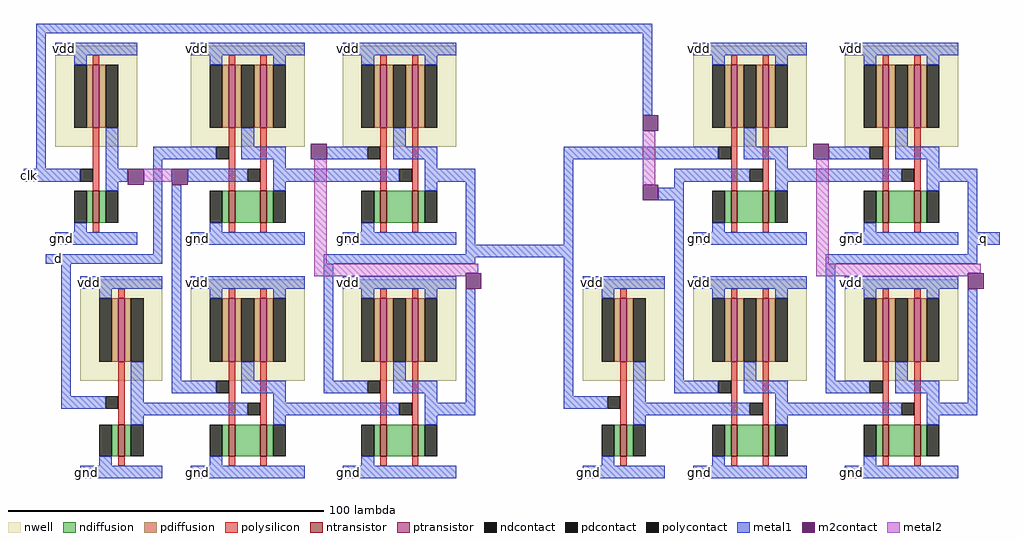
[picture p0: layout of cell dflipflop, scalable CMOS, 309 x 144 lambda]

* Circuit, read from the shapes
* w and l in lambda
.subckt dflipflop clk d gnd q vdd
M1 n1 clk gnd VSUBS nfet w=10 l=2
M2 n2 d gnd VSUBS nfet w=10 l=2
M3 n3 n1 gnd VSUBS nfet w=10 l=2
M4 n4 d gnd VSUBS nfet w=10 l=2
M5 n5 n2 n3 VSUBS nfet w=10 l=2
M6 n6 n1 n4 VSUBS nfet w=10 l=2
M7 n7 n8 gnd VSUBS nfet w=10 l=2
M8 n9 n10 gnd VSUBS nfet w=10 l=2
M9 n10 n5 n7 VSUBS nfet w=10 l=2
M10 n8 n6 n9 VSUBS nfet w=10 l=2
M11 n11 n8 gnd VSUBS nfet w=10 l=2
M12 n12 clk gnd VSUBS nfet w=10 l=2
M13 n13 n8 gnd VSUBS nfet w=10 l=2
M14 n14 n11 n12 VSUBS nfet w=10 l=2
M15 n15 clk n13 VSUBS nfet w=10 l=2
M16 n16 q gnd VSUBS nfet w=10 l=2
M17 n17 n18 gnd VSUBS nfet w=10 l=2
M18 n18 n14 n16 VSUBS nfet w=10 l=2
M19 q n15 n17 VSUBS nfet w=10 l=2
M20 n1 clk vdd n19 pfet w=20 l=2
M21 n2 d vdd n20 pfet w=20 l=2
M22 n5 n1 vdd n21 pfet w=20 l=2
M23 n6 d vdd n22 pfet w=20 l=2
M24 vdd n2 n5 n21 pfet w=20 l=2
M25 vdd n1 n6 n22 pfet w=20 l=2
M26 n10 n8 vdd n23 pfet w=20 l=2
M27 n8 n10 vdd n24 pfet w=20 l=2
M28 vdd n5 n10 n23 pfet w=20 l=2
M29 vdd n6 n8 n24 pfet w=20 l=2
M30 n11 n8 vdd n25 pfet w=20 l=2
M31 n14 clk vdd n26 pfet w=20 l=2
M32 n15 n8 vdd n27 pfet w=20 l=2
M33 vdd n11 n14 n26 pfet w=20 l=2
M34 vdd clk n15 n27 pfet w=20 l=2
M35 n18 q vdd n28 pfet w=20 l=2
M36 q n18 vdd n29 pfet w=20 l=2
M37 vdd n14 n18 n28 pfet w=20 l=2
M38 vdd n15 q n29 pfet w=20 l=2
.ends

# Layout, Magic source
magic
tech scmos
<< nwell >>
rect -184 95 -158 127
rect -141 95 -105 127
rect -93 95 -57 127
rect 18 95 54 127
rect 66 95 102 127
rect -176 21 -150 53
rect -141 21 -105 53
rect -93 21 -57 53
rect -17 21 9 53
rect 18 21 54 53
rect 66 21 102 53
<< ntransistor >>
rect -172 71 -170 81
rect -129 71 -127 81
rect -119 71 -117 81
rect -81 71 -79 81
rect -71 71 -69 81
rect 30 71 32 81
rect 40 71 42 81
rect 78 71 80 81
rect 88 71 90 81
rect -164 -3 -162 7
rect -129 -3 -127 7
rect -119 -3 -117 7
rect -81 -3 -79 7
rect -71 -3 -69 7
rect -5 -3 -3 7
rect 30 -3 32 7
rect 40 -3 42 7
rect 78 -3 80 7
rect 88 -3 90 7
<< ptransistor >>
rect -172 101 -170 121
rect -129 101 -127 121
rect -119 101 -117 121
rect -81 101 -79 121
rect -71 101 -69 121
rect 30 101 32 121
rect 40 101 42 121
rect 78 101 80 121
rect 88 101 90 121
rect -164 27 -162 47
rect -129 27 -127 47
rect -119 27 -117 47
rect -81 27 -79 47
rect -71 27 -69 47
rect -5 27 -3 47
rect 30 27 32 47
rect 40 27 42 47
rect 78 27 80 47
rect 88 27 90 47
<< ndiffusion >>
rect -174 71 -172 81
rect -170 71 -168 81
rect -131 71 -129 81
rect -127 71 -119 81
rect -117 71 -115 81
rect -83 71 -81 81
rect -79 71 -71 81
rect -69 71 -67 81
rect 28 71 30 81
rect 32 71 40 81
rect 42 71 44 81
rect 76 71 78 81
rect 80 71 88 81
rect 90 71 92 81
rect -166 -3 -164 7
rect -162 -3 -160 7
rect -131 -3 -129 7
rect -127 -3 -119 7
rect -117 -3 -115 7
rect -83 -3 -81 7
rect -79 -3 -71 7
rect -69 -3 -67 7
rect -7 -3 -5 7
rect -3 -3 -1 7
rect 28 -3 30 7
rect 32 -3 40 7
rect 42 -3 44 7
rect 76 -3 78 7
rect 80 -3 88 7
rect 90 -3 92 7
<< pdiffusion >>
rect -174 101 -172 121
rect -170 101 -168 121
rect -131 101 -129 121
rect -127 101 -125 121
rect -121 101 -119 121
rect -117 101 -115 121
rect -83 101 -81 121
rect -79 101 -77 121
rect -73 101 -71 121
rect -69 101 -67 121
rect 28 101 30 121
rect 32 101 34 121
rect 38 101 40 121
rect 42 101 44 121
rect 76 101 78 121
rect 80 101 82 121
rect 86 101 88 121
rect 90 101 92 121
rect -166 27 -164 47
rect -162 27 -160 47
rect -131 27 -129 47
rect -127 27 -125 47
rect -121 27 -119 47
rect -117 27 -115 47
rect -83 27 -81 47
rect -79 27 -77 47
rect -73 27 -71 47
rect -69 27 -67 47
rect -7 27 -5 47
rect -3 27 -1 47
rect 28 27 30 47
rect 32 27 34 47
rect 38 27 40 47
rect 42 27 44 47
rect 76 27 78 47
rect 80 27 82 47
rect 86 27 88 47
rect 90 27 92 47
<< ndcontact >>
rect -178 71 -174 81
rect -168 71 -164 81
rect -135 71 -131 81
rect -115 71 -111 81
rect -87 71 -83 81
rect -67 71 -63 81
rect 24 71 28 81
rect 44 71 48 81
rect 72 71 76 81
rect 92 71 96 81
rect -170 -3 -166 7
rect -160 -3 -156 7
rect -135 -3 -131 7
rect -115 -3 -111 7
rect -87 -3 -83 7
rect -67 -3 -63 7
rect -11 -3 -7 7
rect -1 -3 3 7
rect 24 -3 28 7
rect 44 -3 48 7
rect 72 -3 76 7
rect 92 -3 96 7
<< pdcontact >>
rect -178 101 -174 121
rect -168 101 -164 121
rect -135 101 -131 121
rect -125 101 -121 121
rect -115 101 -111 121
rect -87 101 -83 121
rect -77 101 -73 121
rect -67 101 -63 121
rect 24 101 28 121
rect 34 101 38 121
rect 44 101 48 121
rect 72 101 76 121
rect 82 101 86 121
rect 92 101 96 121
rect -170 27 -166 47
rect -160 27 -156 47
rect -135 27 -131 47
rect -125 27 -121 47
rect -115 27 -111 47
rect -87 27 -83 47
rect -77 27 -73 47
rect -67 27 -63 47
rect -11 27 -7 47
rect -1 27 3 47
rect 24 27 28 47
rect 34 27 38 47
rect 44 27 48 47
rect 72 27 76 47
rect 82 27 86 47
rect 92 27 96 47
<< polysilicon >>
rect -172 121 -170 124
rect -129 121 -127 124
rect -119 121 -117 124
rect -81 121 -79 124
rect -71 121 -69 124
rect 30 121 32 124
rect 40 121 42 124
rect 78 121 80 124
rect 88 121 90 124
rect -172 81 -170 101
rect -129 81 -127 101
rect -119 81 -117 101
rect -81 81 -79 101
rect -71 81 -69 101
rect 30 81 32 101
rect 40 81 42 101
rect 78 81 80 101
rect 88 81 90 101
rect -172 68 -170 71
rect -129 68 -127 71
rect -119 68 -117 71
rect -81 68 -79 71
rect -71 68 -69 71
rect 30 68 32 71
rect 40 68 42 71
rect 78 68 80 71
rect 88 68 90 71
rect -164 47 -162 50
rect -129 47 -127 50
rect -119 47 -117 50
rect -81 47 -79 50
rect -71 47 -69 50
rect -5 47 -3 50
rect 30 47 32 50
rect 40 47 42 50
rect 78 47 80 50
rect 88 47 90 50
rect -164 7 -162 27
rect -129 7 -127 27
rect -119 7 -117 27
rect -81 7 -79 27
rect -71 7 -69 27
rect -5 7 -3 27
rect 30 7 32 27
rect 40 7 42 27
rect 78 7 80 27
rect 88 7 90 27
rect -164 -6 -162 -3
rect -129 -6 -127 -3
rect -119 -6 -117 -3
rect -81 -6 -79 -3
rect -71 -6 -69 -3
rect -5 -6 -3 -3
rect 30 -6 32 -3
rect 40 -6 42 -3
rect 78 -6 80 -3
rect 88 -6 90 -3
<< polycontact >>
rect -176 84 -172 88
rect -133 91 -129 95
rect -123 84 -119 88
rect -85 91 -81 95
rect -75 84 -71 88
rect 26 91 30 95
rect 36 84 40 88
rect 74 91 78 95
rect 84 84 88 88
rect -168 12 -164 16
rect -133 17 -129 21
rect -123 10 -119 14
rect -85 17 -81 21
rect -75 10 -71 14
rect -9 12 -5 16
rect 26 17 30 21
rect 36 10 40 14
rect 74 17 78 21
rect 84 10 88 14
<< metal1 >>
rect -190 131 5 134
rect -190 88 -187 131
rect -184 124 -158 128
rect -141 124 -105 128
rect -93 124 -57 128
rect -178 121 -174 124
rect -135 121 -131 124
rect -115 121 -111 124
rect -87 121 -83 124
rect -67 121 -63 124
rect 2 105 5 131
rect 18 124 54 128
rect 66 124 102 128
rect 24 121 28 124
rect 44 121 48 124
rect -168 88 -164 101
rect -125 95 -121 101
rect -153 91 -133 95
rect -125 91 -111 95
rect -77 95 -73 101
rect 72 121 76 124
rect 92 121 96 124
rect 34 95 38 101
rect -98 91 -85 95
rect -77 91 -63 95
rect -194 84 -176 88
rect -168 84 -161 88
rect -168 81 -164 84
rect -178 68 -174 71
rect -184 64 -158 68
rect -153 61 -150 91
rect -115 88 -111 91
rect -67 88 -63 91
rect -23 91 26 95
rect 34 91 48 95
rect 82 95 86 101
rect 61 91 74 95
rect 82 91 96 95
rect -187 58 -150 61
rect -142 84 -123 88
rect -115 84 -75 88
rect -67 84 -51 88
rect -182 16 -179 58
rect -176 50 -150 54
rect -170 47 -166 50
rect -182 12 -168 16
rect -160 14 -156 27
rect -147 21 -144 83
rect -115 81 -111 84
rect -67 81 -63 84
rect -135 68 -131 71
rect -87 68 -83 71
rect -141 64 -105 68
rect -93 64 -57 68
rect -54 64 -51 84
rect -23 64 -20 91
rect 44 88 48 91
rect 92 88 96 91
rect 12 84 36 88
rect 44 84 84 88
rect 92 84 108 88
rect 12 82 15 84
rect 7 78 15 82
rect 44 81 48 84
rect 92 81 96 84
rect -54 61 -20 64
rect -99 60 -20 61
rect -99 58 -51 60
rect -141 50 -105 54
rect -135 47 -131 50
rect -115 47 -111 50
rect -125 21 -121 27
rect -99 21 -96 58
rect -93 50 -57 54
rect -87 47 -83 50
rect -67 47 -63 50
rect -77 21 -73 27
rect -147 17 -133 21
rect -125 17 -111 21
rect -99 17 -85 21
rect -77 17 -63 21
rect -115 14 -111 17
rect -67 14 -63 17
rect -54 14 -51 50
rect -160 10 -123 14
rect -115 10 -75 14
rect -67 10 -51 14
rect -23 16 -20 60
rect -17 50 9 54
rect -11 47 -7 50
rect -23 12 -9 16
rect -1 14 3 27
rect 12 21 15 78
rect 24 68 28 71
rect 72 68 76 71
rect 105 68 108 84
rect 18 64 54 68
rect 66 64 102 68
rect 105 64 115 68
rect 105 61 108 64
rect 60 58 108 61
rect 18 50 54 54
rect 24 47 28 50
rect 44 47 48 50
rect 34 21 38 27
rect 60 21 63 58
rect 66 50 102 54
rect 72 47 76 50
rect 92 47 96 50
rect 82 21 86 27
rect 12 17 26 21
rect 34 17 48 21
rect 60 17 74 21
rect 82 17 96 21
rect 44 14 48 17
rect 92 14 96 17
rect 105 14 108 50
rect -1 10 36 14
rect 44 10 84 14
rect 92 10 108 14
rect -160 7 -156 10
rect -115 7 -111 10
rect -67 7 -63 10
rect -1 7 3 10
rect 44 7 48 10
rect 92 7 96 10
rect -170 -6 -166 -3
rect -135 -6 -131 -3
rect -87 -6 -83 -3
rect -11 -6 -7 -3
rect 24 -6 28 -3
rect 72 -6 76 -3
rect -176 -10 -150 -6
rect -141 -10 -105 -6
rect -93 -10 -57 -6
rect -17 -10 9 -6
rect 18 -10 54 -6
rect 66 -10 102 -6
<< m2contact >>
rect -103 91 -98 96
rect 2 100 7 105
rect -161 83 -156 88
rect 56 91 61 96
rect -147 83 -142 88
rect 2 78 7 83
rect -54 50 -49 55
rect 105 50 110 55
<< metal2 >>
rect -156 84 -147 88
rect -102 58 -98 91
rect 2 83 6 100
rect 57 58 61 91
rect -102 55 -50 58
rect 57 55 109 58
rect -102 54 -54 55
rect 57 54 105 55
<< labels >>
rlabel metal1 -141 -10 -137 -6 2 gnd
rlabel metal1 18 -10 22 -6 2 gnd
rlabel metal1 -141 64 -137 68 2 gnd
rlabel metal1 18 64 22 68 2 gnd
rlabel metal1 -93 -10 -89 -6 2 gnd
rlabel metal1 66 -10 70 -6 2 gnd
rlabel metal1 -93 64 -89 68 2 gnd
rlabel metal1 66 64 70 68 2 gnd
rlabel metal1 -141 50 -137 54 4 vdd
rlabel metal1 18 50 22 54 4 vdd
rlabel metal1 -141 124 -137 128 4 vdd
rlabel metal1 18 124 22 128 4 vdd
rlabel metal1 -93 50 -89 54 4 vdd
rlabel metal1 66 50 70 54 4 vdd
rlabel metal1 -93 124 -89 128 4 vdd
rlabel metal1 66 124 70 128 4 vdd
rlabel metal1 -176 -10 -172 -6 2 gnd
rlabel metal1 -17 -10 -13 -6 2 gnd
rlabel metal1 -175 50 -171 54 4 vdd
rlabel metal1 -16 50 -12 54 4 vdd
rlabel metal1 -187 58 -179 61 3 d
rlabel metal1 105 64 115 68 7 q
rlabel metal1 -184 64 -180 68 2 gnd
rlabel metal1 -183 124 -179 128 4 vdd
rlabel metal1 -194 84 -190 88 3 clk
<< end >>
